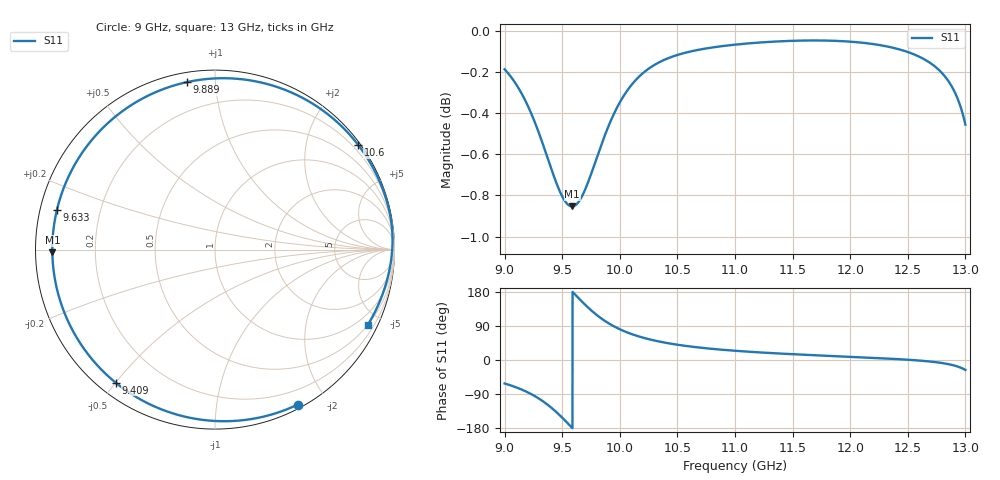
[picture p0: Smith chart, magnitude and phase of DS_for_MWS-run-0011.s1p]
! TOUCHSTONE file generated by CST DESIGN STUDIO
! Date and time: Tue Feb  4 16:43:59 2025
! Project name: C:\Work\MatlabApps\UnitCellOptimizationMatlab\CST\unitcell.cst
! Tree item: Tasks\Sweep1\SPara1\S-Parameters
! Header version: 2024
! Port assignment regex: !\s*Touchstone port\s*([0-9]+)\s*=\s*(CST MWS port|CST DES external port|CST DES block port)\s*(.+)\s* \(\"(.*)\"\)(\s*mode\s*([0-9]+))?.*
! Touchstone port assignment:
! Touchstone port 1 = CST DES external port 1 ("")
# GHz S MA R 50
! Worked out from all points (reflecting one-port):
!   4001 points, 9 GHz to 13 GHz, reference 50 ohm
!   lowest |S11| = -0.9 dB at 9.586 GHz (marker M1), VSWR 20.38, Z = 2.45 - j0.434 ohm
!   phase of S11 starts at -62 deg and turns -324 deg over the sweep
!   S11 on the Smith chart (normalised r, x): 9 GHz: 0.04, -1.66; 9.409 GHz: 0.05, -0.50; 9.633 GHz: 0.05, +0.12; 9.889 GHz: 0.05, +0.85; 10.6 GHz: 0.06, +3.06; 13 GHz: 0.50, -4.22
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9  0.9787 -62.0
9.125  0.968 -75.1
9.25  0.952 -93.1
9.334  0.9383 -109.2
9.409  0.9251 -126.7
9.454  0.9177 -138.8
9.5  0.9115 -152.1
9.544  0.9077 -165.7
9.586  0.9064 -179.0
9.633  0.9081 166.0
9.7  0.9152 145.5
9.76  0.9246 128.8
9.822  0.9352 113.6
9.889  0.9461 99.5
10  0.9608 81.1
10.103  0.9703 68.4
10.216  0.9774 57.7
10.346  0.9827 48.5
10.5  0.9866 40.3
10.598  0.9883 36.2
11  0.9923 24.4
11.5  0.9945 15.3
12  0.994 8.4
12.5  0.9882 0.7
12.682  0.9827 -3.7
12.816  0.9753 -8.9
12.913  0.9656 -15.3
13  0.9489 -26.3
